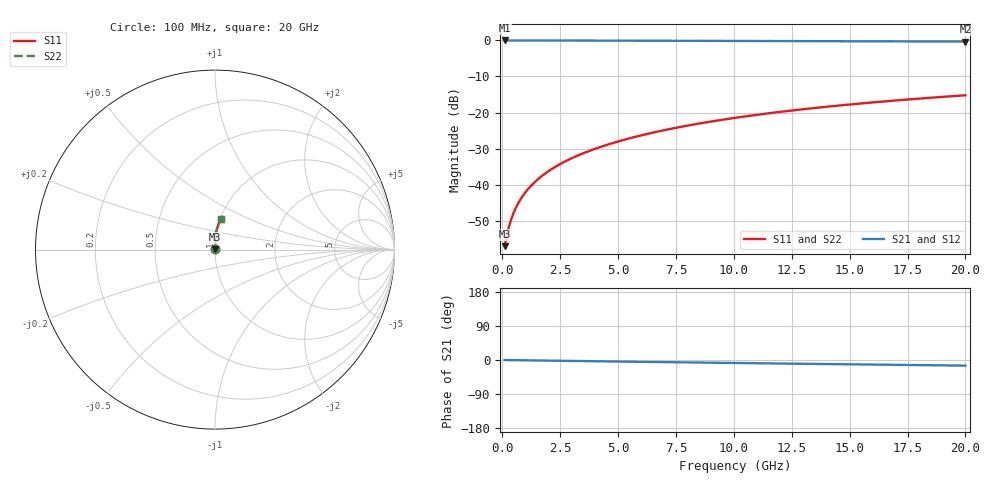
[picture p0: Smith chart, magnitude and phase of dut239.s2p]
! Touchstone file exported from HFSS 2024.1.0
!  File:  C:/UserFiles/LocalFiles/RDL_TSV_Batchsim/temp_RDL_bottom_239_1778701206.aedt
!  Generated:  03:42:46 AM May 14, 2026
!  Design:  RDL_bottom
!  Project:  temp_RDL_bottom_239_1778701206
!  Setup:  Setup1
!  Solution:  Sweep
! Variables:
!  dtsv = 10.80580581um
!  hbump = 3um
!  htsv = 65.32um
!  ldown = 165.68um
!  lrdl = 100um
!  p = 40
!  p1 = 52.9um
!  rhole = 1um
!  t = 450um
!  tdown = 2.99um
!  trdl = 3.915915916um
!  wdown = 22.6um
!  wrdl = 20um
# GHz S MA R 50.000000
! Terminal data exported
! Port[1] = RDL1_T1
! Port[2] = RDL1_T2
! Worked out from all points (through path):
!   200 points, 100 MHz to 20 GHz, reference 50 ohm
!   highest |S21| = -0.01 dB at 100 MHz (marker M1); lowest = -0.3 dB at 20 GHz (marker M2)
!   group delay of S21, straight-line fit = 2.04 ps
!   lowest |S11| = -57.0 dB at 100 MHz (marker M3), VSWR 1.00, Z = 50.1 + j0.0828 ohm
!   |S11| at or under -10 dB: start of sweep to end of sweep
!   |S22| runs from -57.0 to -15.2 dB; largest |S21 - S12| = 4e-15
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0.1  0.001407 35.9  0.9989 -0.1  0.9989 -0.1  0.001407 35.9
! Gamma 0 0 0 0
! Port Impedance 50 0 50 0
0.2  0.002014 54.3  0.9988 -0.2  0.9988 -0.2  0.002014 54.3
0.3  0.002713 63.4  0.9988 -0.3  0.9988 -0.3  0.002713 63.4
0.4  0.003434 68.6  0.9987 -0.3  0.9987 -0.3  0.003434 68.6
0.5  0.004162 72.1  0.9986 -0.4  0.9986 -0.4  0.004162 72.1
0.6  0.004892 74.6  0.9986 -0.5  0.9986 -0.5  0.004892 74.5
0.8  0.006363 78.0  0.9985 -0.7  0.9985 -0.7  0.006363 78.0
1.1  0.008593 81.2  0.9983 -0.9  0.9983 -0.9  0.008593 81.2
1.5  0.01161 83.7  0.998 -1.3  0.998 -1.3  0.01161 83.7
1.8  0.0139 84.9  0.9978 -1.5  0.9978 -1.5  0.0139 84.9
2.1  0.01622 85.9  0.9975 -1.8  0.9975 -1.8  0.01622 85.9
2.7  0.02091 87.2  0.9968 -2.3  0.9968 -2.3  0.02091 87.2
3.5  0.02731 88.2  0.9957 -2.9  0.9957 -2.9  0.02731 88.2
4.2  0.03305 88.7  0.9946 -3.5  0.9946 -3.5  0.03305 88.7
5  0.03976 89.0  0.9933 -4.1  0.9933 -4.1  0.03976 89.0
5.9  0.04747 89.0  0.9916 -4.8  0.9916 -4.8  0.04747 89.0
6.8  0.05533 88.8  0.9899 -5.5  0.9899 -5.5  0.05533 88.8
8.4  0.06958 88.1  0.9867 -6.7  0.9867 -6.7  0.06958 88.1
10.1  0.08496 87.1  0.9834 -7.9  0.9834 -7.9  0.08495 87.1
13.4  0.1149 84.6  0.9769 -10.3  0.9769 -10.3  0.1149 84.6
16.7  0.1446 81.9  0.9704 -12.6  0.9704 -12.6  0.1446 81.9
20  0.1738 79.3  0.9638 -14.9  0.9638 -14.9  0.1738 79.3
